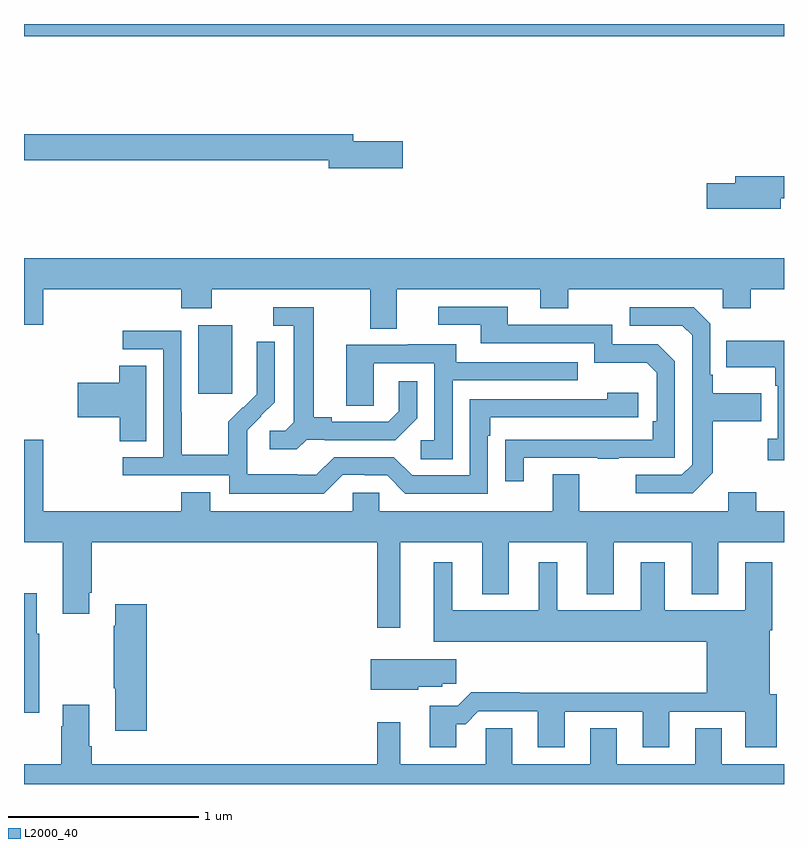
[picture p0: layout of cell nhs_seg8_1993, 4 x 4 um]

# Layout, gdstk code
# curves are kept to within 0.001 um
import gdstk
lib = gdstk.Library(unit=1e-6, precision=1e-09)
def R(c, l, rs):  # rectangles x0, y0, x1, y1
    for r in rs: c.add(gdstk.rectangle(r[:2], r[2:], *l))
def P(c, l, *ps):  # polygons
    for p in ps: c.add(gdstk.Polygon(p, *l))
L2000_40 = (2000, 40)

nhs_seg8_1993 = lib.new_cell('nhs_seg8_1993')
R(nhs_seg8_1993, L2000_40, [(237.917,1111.953,238.096,1112.314), (237,1113.836,241,1113.9)])
P(nhs_seg8_1993, L2000_40, [(238.993,1113.284),(238.732,1113.284),(238.732,1113.32),(237,1113.32),(237,1113.184),(238.604,1113.184),(238.604,1113.142),(238.993,1113.142)],
  [(240.982,1112.982),(241,1112.982),(241,1113.098),(240.743,1113.098),(240.743,1113.062),(240.594,1113.062),(240.594,1112.927),(240.982,1112.927)],
  [(238.963,1112.504),(239.717,1112.504),(239.717,1112.405),(239.865,1112.405),(239.865,1112.504),(240.678,1112.504),(240.678,1112.405),(240.825,1112.405),(240.825,1112.504),(241,1112.504),(241,1112.668),(237,1112.668),(237,1112.316),(237.1,1112.316),(237.1,1112.504),(237.827,1112.504),(237.827,1112.405),(237.987,1112.405),(237.987,1112.504),(238.823,1112.504),(238.823,1112.296),(238.963,1112.296)],
  [(239.629,1111.617),(240.019,1111.617),(240.019,1111.612),(240.131,1111.612),(240.131,1111.617),(240.426,1111.617),(240.426,1112.124),(240.336,1112.214),(240.096,1112.214),(240.096,1112.316),(239.545,1112.316),(239.545,1112.412),(239.181,1112.412),(239.181,1112.316),(239.405,1112.316),(239.405,1112.22),(240,1112.22),(240,1112.117),(240.277,1112.117),(240.33,1112.064),(240.33,1111.81),(240.31,1111.81),(240.31,1111.713),(239.533,1111.712),(239.533,1111.494),(239.629,1111.494)],
  [(238.488,1111.713),(238.582,1111.713),(238.582,1111.71),(238.954,1111.71),(239.07,1111.826),(239.07,1112.02),(238.973,1112.02),(238.973,1111.863),(238.916,1111.806),(238.621,1111.806),(238.621,1111.829),(238.525,1111.829),(238.525,1112.409),(238.311,1112.409),(238.311,1112.313),(238.421,1112.313),(238.421,1111.805),(238.374,1111.758),(238.293,1111.758),(238.293,1111.661),(238.436,1111.661)],
  [(240.625,1111.537),(240.625,1111.81),(240.881,1111.81),(240.881,1111.957),(240.625,1111.957),(240.625,1112.053),(240.612,1112.053),(240.612,1112.322),(240.525,1112.409),(240.189,1112.409),(240.189,1112.313),(240.465,1112.313),(240.516,1112.262),(240.516,1111.581),(240.462,1111.527),(240.219,1111.527),(240.219,1111.431),(240.519,1111.431)],
  [(238.677,1111.527),(238.793,1111.527),(238.793,1111.524),(238.911,1111.524),(239.007,1111.428),(239.442,1111.428),(239.442,1111.733),(239.455,1111.733),(239.455,1111.83),(240.232,1111.83),(240.232,1111.96),(240.071,1111.96),(240.071,1111.926),(239.346,1111.926),(239.346,1111.524),(239.043,1111.524),(238.947,1111.62),(238.632,1111.62),(238.539,1111.527),(238.439,1111.527),(238.439,1111.531),(238.176,1111.531),(238.176,1111.665),(238.174,1111.665),(238.174,1111.762),(238.32,1111.91),(238.32,1112.228),(238.224,1112.228),(238.224,1112.074),(238.226,1112.074),(238.226,1111.952),(238.155,1111.881),(238.152,1111.884),(238.075,1111.807),(238.075,1111.633),(237.831,1111.633),(237.831,1111.856),(237.828,1111.856),(237.828,1112.286),(237.519,1112.286),(237.519,1112.187),(237.732,1112.187),(237.732,1111.62),(237.519,1111.62),(237.519,1111.524),(238.08,1111.524),(238.08,1111.427),(238.577,1111.427)],
  [(241,1112.233),(240.697,1112.233),(240.697,1112.093),(240.954,1112.093),(240.954,1111.997),(240.966,1111.997),(240.966,1111.718),(240.915,1111.718),(240.915,1111.605),(241,1111.605)],
  [(239.256,1112.025),(239.915,1112.025),(239.915,1112.121),(239.275,1112.121),(239.275,1112.215),(239.021,1112.215),(239.021,1112.211),(238.697,1112.211),(238.697,1111.891),(238.842,1111.891),(238.842,1112.115),(239.16,1112.115),(239.16,1111.71),(239.088,1111.71),(239.088,1111.609),(239.256,1111.609)],
  [(237.643,1112.102),(237.5,1112.102),(237.5,1112.012),(237.282,1112.012),(237.282,1111.829),(237.505,1111.829),(237.505,1111.705),(237.643,1111.705)],
  [(238.86,1110.723),(238.981,1110.723),(238.981,1111.172),(239.411,1111.172),(239.411,1110.899),(239.551,1110.899),(239.551,1111.172),(239.963,1111.172),(239.963,1110.899),(240.103,1110.899),(240.103,1111.172),(240.515,1111.172),(240.515,1110.899),(240.655,1110.899),(240.655,1111.172),(241,1111.172),(241,1111.336),(240.855,1111.336),(240.855,1111.435),(240.707,1111.435),(240.707,1111.336),(239.923,1111.336),(239.923,1111.531),(239.783,1111.531),(239.783,1111.336),(238.869,1111.336),(238.869,1111.434),(238.731,1111.434),(238.731,1111.336),(237.979,1111.336),(237.979,1111.435),(237.827,1111.435),(237.827,1111.336),(237.1,1111.336),(237.1,1111.711),(237,1111.711),(237,1111.172),(237.203,1111.172),(237.203,1110.795),(237.343,1110.795),(237.343,1110.907),(237.356,1110.907),(237.356,1111.172),(238.86,1111.172)],
  [(239.275,1110.215),(239.324,1110.215),(239.391,1110.282),(239.705,1110.282),(239.705,1110.093),(239.845,1110.093),(239.845,1110.279),(240.257,1110.279),(240.257,1110.093),(240.397,1110.093),(240.397,1110.279),(240.797,1110.279),(240.797,1110.093),(240.962,1110.093),(240.962,1110.372),(240.925,1110.372),(240.925,1110.71),(240.938,1110.71),(240.938,1111.066),(240.797,1111.066),(240.797,1110.814),(240.373,1110.814),(240.373,1111.066),(240.245,1111.066),(240.245,1110.814),(239.806,1110.814),(239.806,1111.066),(239.708,1111.066),(239.708,1110.814),(239.254,1110.814),(239.254,1111.066),(239.156,1111.066),(239.156,1110.65),(240.593,1110.65),(240.593,1110.38),(239.609,1110.38),(239.609,1110.383),(239.354,1110.383),(239.283,1110.312),(239.135,1110.312),(239.135,1110.093),(239.275,1110.093)],
  [(237.079,1110.691),(237.067,1110.691),(237.067,1110.904),(237,1110.904),(237,1110.275),(237.079,1110.275)],
  [(237.647,1110.847),(237.479,1110.847),(237.479,1110.734),(237.472,1110.734),(237.472,1110.403),(237.479,1110.403),(237.479,1110.18),(237.647,1110.18)],
  [(239.076,1110.413),(239.202,1110.413),(239.202,1110.427),(239.275,1110.427),(239.275,1110.556),(238.826,1110.556),(238.826,1110.395),(239.076,1110.395)],
  [(241,1110.004),(240.673,1110.004),(240.673,1110.194),(240.533,1110.194),(240.533,1110.004),(240.121,1110.004),(240.121,1110.194),(239.981,1110.194),(239.981,1110.004),(239.569,1110.004),(239.569,1110.194),(239.43,1110.194),(239.43,1110.004),(238.981,1110.004),(238.981,1110.226),(238.86,1110.226),(238.86,1110.004),(237.356,1110.004),(237.356,1110.1),(237.343,1110.1),(237.343,1110.316),(237.203,1110.316),(237.203,1110.203),(237.196,1110.203),(237.196,1110.004),(237,1110.004),(237,1109.9),(241,1109.9)])

lib.write_gds('nhs_seg8_1993.gds')
